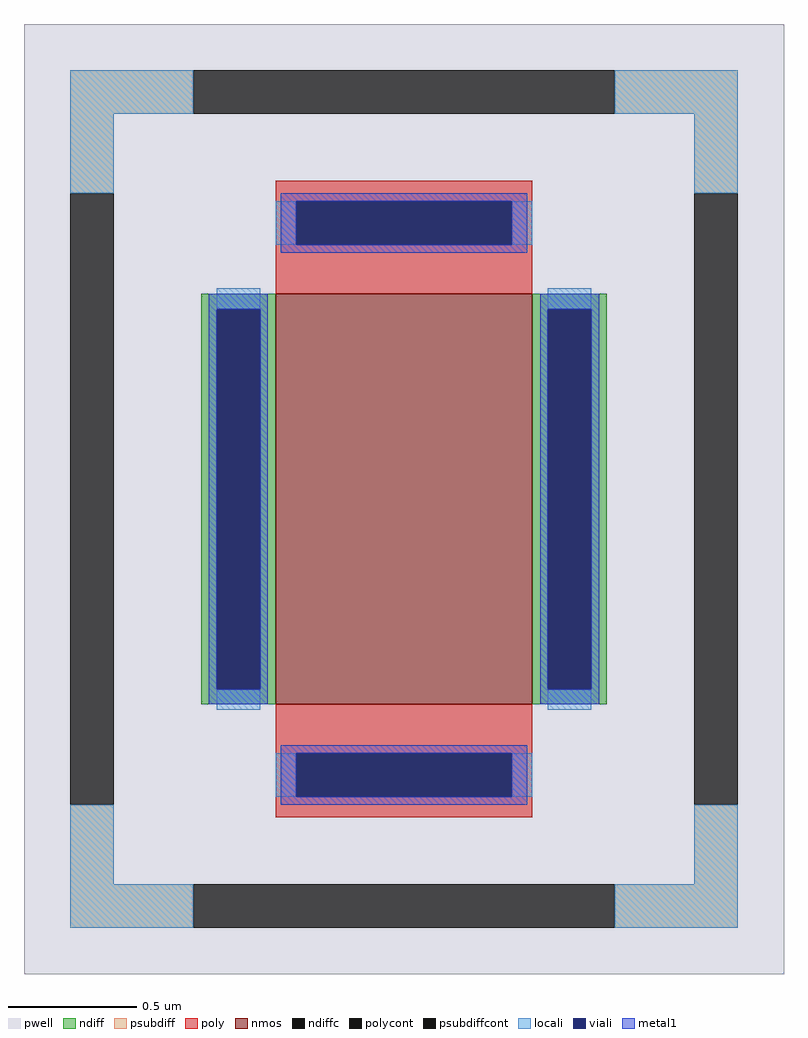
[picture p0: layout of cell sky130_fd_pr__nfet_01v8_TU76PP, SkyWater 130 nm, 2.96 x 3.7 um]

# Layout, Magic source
magic
tech sky130B
<< pwell >>
rect -148 -185 148 185
<< nmos >>
rect -50 -80 50 80
<< ndiff >>
rect -79 74 -50 80
rect -79 -74 -73 74
rect -56 -74 -50 74
rect -79 -80 -50 -74
rect 50 74 79 80
rect 50 -74 56 74
rect 73 -74 79 74
rect 50 -80 79 -74
<< ndiffc >>
rect -73 -74 -56 74
rect 56 -74 73 74
<< psubdiff >>
rect -130 150 -82 167
rect 82 150 130 167
rect -130 119 -113 150
rect 113 119 130 150
rect -130 -150 -113 -119
rect 113 -150 130 -119
rect -130 -167 -82 -150
rect 82 -167 130 -150
<< psubdiffcont >>
rect -82 150 82 167
rect -130 -119 -113 119
rect 113 -119 130 119
rect -82 -167 82 -150
<< poly >>
rect -50 116 50 124
rect -50 99 -42 116
rect 42 99 50 116
rect -50 80 50 99
rect -50 -99 50 -80
rect -50 -116 -42 -99
rect 42 -116 50 -99
rect -50 -124 50 -116
<< polycont >>
rect -42 99 42 116
rect -42 -116 42 -99
<< locali >>
rect -130 150 -82 167
rect 82 150 130 167
rect -130 119 -113 150
rect 113 119 130 150
rect -50 99 -42 116
rect 42 99 50 116
rect -73 74 -56 82
rect -73 -82 -56 -74
rect 56 74 73 82
rect 56 -82 73 -74
rect -50 -116 -42 -99
rect 42 -116 50 -99
rect -130 -150 -113 -119
rect 113 -150 130 -119
rect -130 -167 -82 -150
rect 82 -167 130 -150
<< viali >>
rect -42 99 42 116
rect -73 -74 -56 74
rect 56 -74 73 74
rect -42 -116 42 -99
<< metal1 >>
rect -48 116 48 119
rect -48 99 -42 116
rect 42 99 48 116
rect -48 96 48 99
rect -76 74 -53 80
rect -76 -74 -73 74
rect -56 -74 -53 74
rect -76 -80 -53 -74
rect 53 74 76 80
rect 53 -74 56 74
rect 73 -74 76 74
rect 53 -80 76 -74
rect -48 -99 48 -96
rect -48 -116 -42 -99
rect 42 -116 48 -99
rect -48 -119 48 -116
<< properties >>
string FIXED_BBOX -121 -158 121 158
string gencell sky130_fd_pr__nfet_01v8
string library sky130
string parameters w 1.6 l 1 m 1 nf 1 diffcov 100 polycov 100 guard 1 glc 1 grc 1 gtc 1 gbc 1 tbcov 100 rlcov 100 topc 1 botc 1 poverlap 0 doverlap 1 lmin 0.15 wmin 0.42 compatible {sky130_fd_pr__nfet_01v8 sky130_fd_pr__nfet_01v8_lvt  sky130_fd_bs_flash__special_sonosfet_star  sky130_fd_pr__nfet_g5v0d10v5 sky130_fd_pr__nfet_05v0_nvt  sky130_fd_pr__nfet_03v3_nvt} full_metal 1 viasrc 100 viadrn 100 viagate 100 viagb 0 viagr 0 viagl 0 viagt 0
<< end >>
